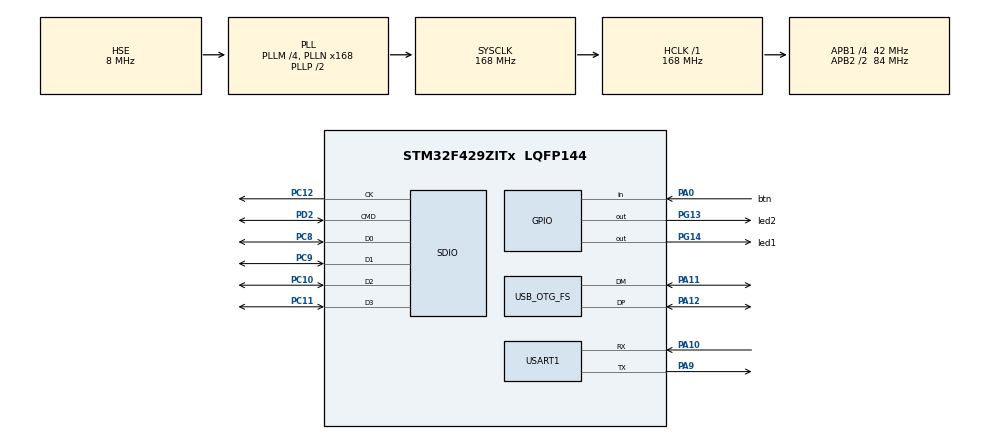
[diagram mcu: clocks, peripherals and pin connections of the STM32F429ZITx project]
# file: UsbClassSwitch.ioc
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Mcu.Family=STM32F4
USB_DEVICE.CLASS_NAME_FS=CUSTOM_HID
RCC.CortexFreq_Value=168000000
Dma.SDIO_RX.1.PeriphDataAlignment=DMA_PDATAALIGN_WORD
PC10.GPIO_PuPd=GPIO_PULLUP
FATFS._USE_LFN=1
FATFS0.BSP.api=Unknown
VP_FATFS_VS_SDIO.Mode=SDIO
PC10.Signal=SDIO_D2
PC12.Signal=SDIO_CK
Dma.SDIO_RX.1.Mode=DMA_PFCTRL
Dma.SDIO_RX.1.Direction=DMA_PERIPH_TO_MEMORY
VP_USB_DEVICE_VS_USB_DEVICE_CUSTOM_HID_FS.Mode=CUSTOM_HID_FS
PA11.Mode=Device_Only
PA0/WKUP.Signal=GPIO_Input
Dma.SDIO_RX.1.Priority=DMA_PRIORITY_LOW
PG13.Signal=GPIO_Output
Dma.SDIO_TX.0.PeriphBurst=DMA_PBURST_INC4
RCC.SYSCLKSource=RCC_SYSCLKSOURCE_PLLCLK
ProjectManager.StackSize=0x4000
Dma.SDIO_RX.1.Instance=DMA2_Stream6
VP_TIM7_VS_ClockSourceINT.Mode=Enable_Timer
PC11.GPIO_PuPd=GPIO_PULLUP
PA12.Signal=USB_OTG_FS_DP
Dma.SDIO_TX.0.Direction=DMA_MEMORY_TO_PERIPH
PH0/OSC_IN.Mode=HSE-External-Oscillator
RCC.HCLKFreq_Value=168000000
RCC.APB2TimFreq_Value=168000000
Dma.SDIO_RX.1.FIFOMode=DMA_FIFOMODE_ENABLE
PH1/OSC_OUT.Signal=RCC_OSC_OUT
RCC.AHBFreq_Value=168000000
FATFS0.BSP.ip=GPIO
USB_DEVICE.PRODUCT_STRING_CUSTOMHID_FS=STM32USBClassSwitch
RCC.HSE_VALUE=8000000
FATFS0.BSP.i2caddr=0
PA14.Mode=Serial_Wire
PC9.Mode=SD_4_bits_Wide_bus
Dma.SDIO_TX.0.PeriphInc=DMA_PINC_DISABLE
PH1/OSC_OUT.Mode=HSE-External-Oscillator
Mcu.Package=LQFP144
USB_DEVICE.USBD_CUSTOM_HID_REPORT_DESC_SIZE-CUSTOM_HID_FS=63
FATFS0.BSP.solution=PA0/WKUP
NVIC.OTG_FS_IRQn=true\:0\:0\:false\:false\:true\:true\:true
Dma.SDIO_TX.0.FIFOThreshold=DMA_FIFO_THRESHOLD_FULL
PA10.Signal=USART1_RX
USB_OTG_FS.VirtualMode=Device_Only
USB_DEVICE.USBD_CUSTOMHID_OUTREPORT_BUF_SIZE-CUSTOM_HID_FS=8
PC11.Mode=SD_4_bits_Wide_bus
Dma.SDIO_RX.1.PeriphBurst=DMA_PBURST_INC4
RCC.PLLSAIN=50
RCC.APB2CLKDivider=RCC_HCLK_DIV2
Dma.SDIO_TX.0.MemBurst=DMA_MBURST_INC4
Dma.Request1=SDIO_RX
RCC.APB1TimFreq_Value=84000000
PC12.GPIO_PuPd=GPIO_PULLUP
NVIC.USART1_IRQn=true\:0\:0\:false\:false\:true\:true\:true
Dma.SDIO_TX.0.Instance=DMA2_Stream3
Dma.Request0=SDIO_TX
NVIC.TIM7_IRQn=true\:0\:0\:false\:false\:true\:true\:true
Dma.SDIO_TX.0.FIFOMode=DMA_FIFOMODE_ENABLE
Dma.SDIO_TX.0.MemDataAlignment=DMA_MDATAALIGN_WORD
Dma.SDIO_TX.0.Priority=DMA_PRIORITY_LOW
FATFS0.BSP.STBoard=false
Dma.SDIO_TX.0.MemInc=DMA_MINC_ENABLE
USB_DEVICE.CUSTOM_HID_FS_BINTERVAL=0x5
PA10.Mode=Asynchronous
PD2.GPIO_PuPd=GPIO_PULLUP
USB_DEVICE.VirtualModeFS=Custom_Hid_FS
PC11.Signal=SDIO_D3
FATFS0.BSP.mode=Input
PC8.Signal=SDIO_D0
PC10.Mode=SD_4_bits_Wide_bus
RCC.APB1CLKDivider=RCC_HCLK_DIV4
PG13.GPIO_Label=led2
NVIC.SDIO_IRQn=true\:0\:0\:false\:false\:true\:true\:true
Dma.SDIO_RX.1.PeriphInc=DMA_PINC_DISABLE
FATFS0.BSP.instance=PA0/WKUP
PA13.Signal=SYS_JTMS-SWDIO
PA9.Mode=Asynchronous
ProjectManager.TargetToolchain=STM32CubeIDE
PA9.Signal=USART1_TX
SDIO.ClockDiv=5
NVIC.DMA2_Stream3_IRQn=true\:0\:0\:false\:false\:true\:false\:true
NVIC.DMA2_Stream6_IRQn=true\:0\:0\:false\:false\:true\:false\:true
RCC.LSE_VALUE=32768
Dma.SDIO_RX.1.MemDataAlignment=DMA_MDATAALIGN_WORD
Dma.SDIO_RX.1.FIFOThreshold=DMA_FIFO_THRESHOLD_FULL
PD2.Mode=SD_4_bits_Wide_bus
FATFS.BSP.number=1
PG14.Signal=GPIO_Output
PC12.Mode=SD_4_bits_Wide_bus
TIM7.Prescaler=83
board=STM32F429I-DISC1
Dma.SDIO_RX.1.MemBurst=DMA_MBURST_INC4
RCC.VCOOutputFreq_Value=336000000
FATFS.USE_DMA_CODE_SD=1
PH0/OSC_IN.Signal=RCC_OSC_IN
RCC.APB2Freq_Value=84000000
PC9.GPIO_PuPd=GPIO_PULLUP
PA0/WKUP.GPIO_Label=btn
PA13.Mode=Serial_Wire
PG14.GPIO_Label=led1
Mcu.Name=STM32F429ZITx
FATFS._MAX_SS=4096
PC8.Mode=SD_4_bits_Wide_bus
RCC.48MHZClocksFreq_Value=48000000
PC8.GPIO_PuPd=GPIO_PULLUP
RCC.SYSCLKFreq_VALUE=168000000
PA12.Mode=Device_Only
USB_DEVICE.VirtualMode-CUSTOM_HID_FS=CustomHid
Dma.SDIO_TX.0.PeriphDataAlignment=DMA_PDATAALIGN_WORD
USART1.VirtualMode=VM_ASYNC
PA11.Signal=USB_OTG_FS_DM
PA14.Signal=SYS_JTCK-SWCLK
ProjectManager.HeapSize=0x2000
Dma.SDIO_RX.1.MemInc=DMA_MINC_ENABLE
RCC.HSI_VALUE=16000000
RCC.PLLQ=7
NVIC.PriorityGroup=NVIC_PRIORITYGROUP_4
RCC.PLLM=4
RCC.PLLN=168
PC9.Signal=SDIO_D1
PD2.Signal=SDIO_CMD
RCC.APB1Freq_Value=42000000
Dma.SDIO_TX.0.Mode=DMA_PFCTRL
FATFS0.BSP.name=Detect_SDIO

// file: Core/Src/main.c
/* USER CODE BEGIN Header */
/**
  ******************************************************************************
  * @file           : main.c
  * @brief          : Main program body
  ******************************************************************************
  * @attention
  *
  * <h2><center>&copy; Copyright (c) 2021 STMicroelectronics.
  * All rights reserved.</center></h2>
  *
  * This software component is licensed by ST under Ultimate Liberty license
  * SLA0044, the "License"; You may not use this file except in compliance with
  * the License. You may obtain a copy of the License at:
  *                             www.st.com/SLA0044
  *
  ******************************************************************************
  */
/* USER CODE END Header */
#include "main.h"
#include "dma.h"
#include "fatfs.h"
#include "sdio.h"
#include "tim.h"
#include "usart.h"
#include "usb_device.h"
#include "gpio.h"

/* USER CODE BEGIN Includes */
#include "Keyboard.h"
#include "File_Handling.h"
#include "printf_override.h"
#include "UsbClassSwitch.h"
/* USER CODE END Includes */

/* USER CODE BEGIN PV */
extern USBD_HandleTypeDef hUsbDeviceFS;

/* USER CODE END PV */

void SystemClock_Config(void);

/* USER CODE BEGIN 0 */
char buffer[100];
int indx = 0;
/* USER CODE END 0 */

int main(void)
{

  /* MCU Configuration--------------------------------------------------------*/

  /* Reset of all peripherals, Initializes the Flash interface and the Systick. */
  HAL_Init();

  /* Configure the system clock */
  SystemClock_Config();

  /* Initialize all configured peripherals */
  MX_GPIO_Init();
  MX_DMA_Init();
  MX_USART1_UART_Init();
  MX_USB_DEVICE_Init();
  MX_TIM7_Init();
  MX_SDIO_SD_Init();
  MX_FATFS_Init();
  /* USER CODE BEGIN 2 */
  Keyboard_init();

  printf_init();
  printf("Hello World!\n\r");
  Mount_SD("/");
  Format_SD();
  Check_SD_Space();
  Create_File("FILE1.TXT");
  Create_File("FILE2.TXT");
  Unmount_SD("/");

  for (indx = 0; indx < 15; indx++)
  {
	Mount_SD("/");
	sprintf(buffer, "Hello ---> %d\n", indx);
	Update_File("FILE1.TXT", buffer);
	sprintf(buffer, "world ---> %d\n", indx);
	Update_File("FILE2.TXT", buffer);
	Unmount_SD("/");

	HAL_Delay(500);
  }
  /* USER CODE END 2 */

  /* Infinite loop */
  while (1)
  {

    /* USER CODE BEGIN 3 */
//	for(uint8_t i = 0; i<5; i++)
//	{
//		HAL_Delay(1000);
//		Keyboard_write("Hello World!!\n");
//		HAL_Delay(1000);
//		Keyboard_write("Good bye Cruel World!!\n");
//	}

	  UsbClassSwitch_setClass(USB_MSC_CLASS);
	  HAL_Delay(20000);
	  UsbClassSwitch_setClass(USB_HID_CLASS);

	  for (uint8_t i = 0; i<5 ; i++)
	  {
		  Keyboard_write("Hello World!\n\r");
		  Keyboard_write("GoodBye Cruel World!\n\r");
	  }

  }
  /* USER CODE END 3 */
}

void SystemClock_Config(void)
{
  RCC_OscInitTypeDef RCC_OscInitStruct = {0};
  RCC_ClkInitTypeDef RCC_ClkInitStruct = {0};

  /** Configure the main internal regulator output voltage
  */
  __HAL_RCC_PWR_CLK_ENABLE();
  __HAL_PWR_VOLTAGESCALING_CONFIG(PWR_REGULATOR_VOLTAGE_SCALE1);
  /** Initializes the RCC Oscillators according to the specified parameters
  * in the RCC_OscInitTypeDef structure.
  */
  RCC_OscInitStruct.OscillatorType = RCC_OSCILLATORTYPE_HSE;
  RCC_OscInitStruct.HSEState = RCC_HSE_ON;
  RCC_OscInitStruct.PLL.PLLState = RCC_PLL_ON;
  RCC_OscInitStruct.PLL.PLLSource = RCC_PLLSOURCE_HSE;
  RCC_OscInitStruct.PLL.PLLM = 4;
  RCC_OscInitStruct.PLL.PLLN = 168;
  RCC_OscInitStruct.PLL.PLLP = RCC_PLLP_DIV2;
  RCC_OscInitStruct.PLL.PLLQ = 7;
  if (HAL_RCC_OscConfig(&RCC_OscInitStruct) != HAL_OK)
  {
    Error_Handler();
  }
  /** Initializes the CPU, AHB and APB buses clocks
  */
  RCC_ClkInitStruct.ClockType = RCC_CLOCKTYPE_HCLK|RCC_CLOCKTYPE_SYSCLK
                              |RCC_CLOCKTYPE_PCLK1|RCC_CLOCKTYPE_PCLK2;
  RCC_ClkInitStruct.SYSCLKSource = RCC_SYSCLKSOURCE_PLLCLK;
  RCC_ClkInitStruct.AHBCLKDivider = RCC_SYSCLK_DIV1;
  RCC_ClkInitStruct.APB1CLKDivider = RCC_HCLK_DIV4;
  RCC_ClkInitStruct.APB2CLKDivider = RCC_HCLK_DIV2;

  if (HAL_RCC_ClockConfig(&RCC_ClkInitStruct, FLASH_LATENCY_5) != HAL_OK)
  {
    Error_Handler();
  }
}

void Error_Handler(void)
{
  __disable_irq();
  while (1)
  {
  }
}

/************************ (C) COPYRIGHT STMicroelectronics *****END OF FILE****/
